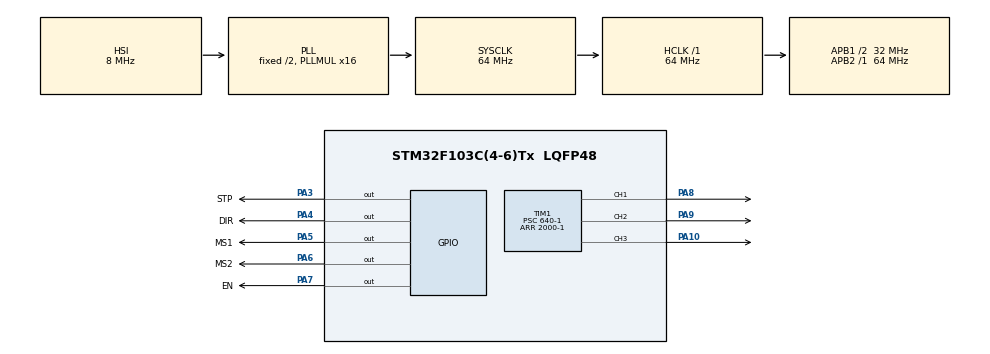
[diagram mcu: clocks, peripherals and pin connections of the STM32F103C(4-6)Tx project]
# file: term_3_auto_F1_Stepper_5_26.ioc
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Mcu.Family=STM32F1
Mcu.Name=STM32F103C(4-6)Tx
Mcu.Package=LQFP48
NVIC.PriorityGroup=NVIC_PRIORITYGROUP_4
PA10.Signal=S_TIM1_CH3
PA13.Mode=Serial_Wire
PA13.Signal=SYS_JTMS-SWDIO
PA14.Mode=Serial_Wire
PA14.Signal=SYS_JTCK-SWCLK
PA3.GPIO_Label=STP
PA3.Signal=GPIO_Output
PA4.GPIO_Label=DIR
PA4.Signal=GPIO_Output
PA5.GPIO_Label=MS1
PA5.Signal=GPIO_Output
PA6.GPIO_Label=MS2
PA6.Signal=GPIO_Output
PA7.GPIO_Label=EN
PA7.Signal=GPIO_Output
PA8.Signal=S_TIM1_CH1
PA9.Signal=S_TIM1_CH2
ProjectManager.HeapSize=0x200
ProjectManager.StackSize=0x400
ProjectManager.TargetToolchain=MDK-ARM V5.32
RCC.AHBFreq_Value=64000000
RCC.APB1CLKDivider=RCC_HCLK_DIV2
RCC.APB1Freq_Value=32000000
RCC.APB1TimFreq_Value=64000000
RCC.APB2Freq_Value=64000000
RCC.APB2TimFreq_Value=64000000
RCC.HCLKFreq_Value=64000000
RCC.PLLMUL=RCC_PLL_MUL16
RCC.SYSCLKFreq_VALUE=64000000
RCC.SYSCLKSource=RCC_SYSCLKSOURCE_PLLCLK
RCC.USBFreq_Value=64000000
SH.S_TIM1_CH1.0=TIM1_CH1,PWM Generation1 CH1
SH.S_TIM1_CH2.0=TIM1_CH2,PWM Generation2 CH2
SH.S_TIM1_CH3.0=TIM1_CH3,PWM Generation3 CH3
TIM1.Channel-PWM\ Generation1\ CH1=TIM_CHANNEL_1
TIM1.Channel-PWM\ Generation2\ CH2=TIM_CHANNEL_2
TIM1.Channel-PWM\ Generation3\ CH3=TIM_CHANNEL_3
TIM1.Period=2000-1
TIM1.Prescaler=640-1
TIM2.Prescaler=64-1
VP_TIM1_VS_ClockSourceINT.Mode=Internal
VP_TIM2_VS_ClockSourceINT.Mode=Internal
board=custom

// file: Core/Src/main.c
/* USER CODE BEGIN Header */
/**
  ******************************************************************************
  * @file           : main.c
  * @brief          : Main program body
  ******************************************************************************
  * @attention
  *
  * Copyright (c) 2024 STMicroelectronics.
  * All rights reserved.
  *
  * This software is licensed under terms that can be found in the LICENSE file
  * in the root directory of this software component.
  * If no LICENSE file comes with this software, it is provided AS-IS.
  *
  ******************************************************************************
  */
/* USER CODE END Header */
#include "main.h"
#include "tim.h"
#include "gpio.h"

/* USER CODE BEGIN PV */
uint32_t count;

/* USER CODE END PV */

void SystemClock_Config(void);
/* USER CODE BEGIN PFP */

void Stepper_Forward(uint16_t n);
void Stepper_Backward(uint16_t n);
void Servo_Forward(uint16_t C,uint16_t T);
void Servo_Backward(uint16_t C,uint16_t T);
void Robot_Init(void);

/* USER CODE END PFP */

int main(void)
{

  /* MCU Configuration--------------------------------------------------------*/

  /* Reset of all peripherals, Initializes the Flash interface and the Systick. */
  HAL_Init();

  /* Configure the system clock */
  SystemClock_Config();

  /* Initialize all configured peripherals */
  MX_GPIO_Init();
  MX_TIM1_Init();
  MX_TIM2_Init();
  /* USER CODE BEGIN 2 */
  HAL_TIM_PWM_Start(&htim1, TIM_CHANNEL_1);
  HAL_TIM_PWM_Start(&htim1, TIM_CHANNEL_2);
  HAL_TIM_PWM_Start(&htim1, TIM_CHANNEL_3);

  HAL_GPIO_WritePin(GPIOA, EN_Pin, GPIO_PIN_RESET);

  Robot_Init();

  /* USER CODE END 2 */

  /* Infinite loop */
  while (1)
  {

  }
}

void SystemClock_Config(void)
{
  RCC_OscInitTypeDef RCC_OscInitStruct = {0};
  RCC_ClkInitTypeDef RCC_ClkInitStruct = {0};

  /** Initializes the RCC Oscillators according to the specified parameters
  * in the RCC_OscInitTypeDef structure.
  */
  RCC_OscInitStruct.OscillatorType = RCC_OSCILLATORTYPE_HSI;
  RCC_OscInitStruct.HSIState = RCC_HSI_ON;
  RCC_OscInitStruct.HSICalibrationValue = RCC_HSICALIBRATION_DEFAULT;
  RCC_OscInitStruct.PLL.PLLState = RCC_PLL_ON;
  RCC_OscInitStruct.PLL.PLLSource = RCC_PLLSOURCE_HSI_DIV2;
  RCC_OscInitStruct.PLL.PLLMUL = RCC_PLL_MUL16;
  if (HAL_RCC_OscConfig(&RCC_OscInitStruct) != HAL_OK)
  {
    Error_Handler();
  }

  /** Initializes the CPU, AHB and APB buses clocks
  */
  RCC_ClkInitStruct.ClockType = RCC_CLOCKTYPE_HCLK|RCC_CLOCKTYPE_SYSCLK
                              |RCC_CLOCKTYPE_PCLK1|RCC_CLOCKTYPE_PCLK2;
  RCC_ClkInitStruct.SYSCLKSource = RCC_SYSCLKSOURCE_PLLCLK;
  RCC_ClkInitStruct.AHBCLKDivider = RCC_SYSCLK_DIV1;
  RCC_ClkInitStruct.APB1CLKDivider = RCC_HCLK_DIV2;
  RCC_ClkInitStruct.APB2CLKDivider = RCC_HCLK_DIV1;

  if (HAL_RCC_ClockConfig(&RCC_ClkInitStruct, FLASH_LATENCY_2) != HAL_OK)
  {
    Error_Handler();
  }
}

/* USER CODE BEGIN 4 */

/**
  * @brief  This function is for stepper forward
  * @param  $ n $ the number of loop #uint16_t
  * @retval None
  */

void Stepper_Forward(uint16_t n)
{
	   HAL_GPIO_WritePin(GPIOA, DIR_Pin,GPIO_PIN_RESET);
	   HAL_Delay(1);

		for(count = 0; count < n; count++){
			HAL_GPIO_WritePin(GPIOA, STP_Pin, GPIO_PIN_SET);
			HAL_Delay(1);
			HAL_GPIO_WritePin(GPIOA, STP_Pin, GPIO_PIN_RESET);
			HAL_Delay(1);
		}
}

/**
  * @brief  This function is for stepper backword
  * @param  $ n $ is the number of loop #uint16_t
  * @retval None
  */

void Stepper_Backward(uint16_t n)
{
	   HAL_GPIO_WritePin(GPIOA, DIR_Pin,GPIO_PIN_SET);
	   HAL_Delay(1);

		for(count = 0; count < n; count++){
			HAL_GPIO_WritePin(GPIOA, STP_Pin, GPIO_PIN_SET);
			HAL_Delay(1);
			HAL_GPIO_WritePin(GPIOA, STP_Pin, GPIO_PIN_RESET);
			HAL_Delay(1);
		}
}

/**
  * @brief  This function is for servo forword
  * @param  $ C $ is the channel of tim1 && $ T $ is the time for delay #uint16_t
  * @retval None
  */

void Servo_Forward(uint16_t C,uint16_t T)
{
	if(C == 1)
	{
		__HAL_TIM_SET_COMPARE(&htim1,TIM_CHANNEL_1, 130);
		HAL_Delay(T);
		__HAL_TIM_SET_COMPARE(&htim1,TIM_CHANNEL_1, 0);

	}else if(C == 2)
	{
		__HAL_TIM_SET_COMPARE(&htim1,TIM_CHANNEL_2, 130);
		HAL_Delay(T);
		__HAL_TIM_SET_COMPARE(&htim1,TIM_CHANNEL_2, 0);
	}else if(C == 3)
	{
		__HAL_TIM_SET_COMPARE(&htim1,TIM_CHANNEL_3, 130);
		HAL_Delay(T);
		__HAL_TIM_SET_COMPARE(&htim1,TIM_CHANNEL_3, 0);
	}

}

/**
  * @brief  This function is for servo backward
  * @param  $ C $ is the channel of tim1 && $ T $ is the time for delay #uint16_t
  * @retval None
  */

void Servo_Backward(uint16_t C,uint16_t T)
{
	if(C == 1)
	{
		__HAL_TIM_SET_COMPARE(&htim1,TIM_CHANNEL_1, 170);
		HAL_Delay(T);
		__HAL_TIM_SET_COMPARE(&htim1,TIM_CHANNEL_1, 0);
	}else if(C == 2)
	{
		__HAL_TIM_SET_COMPARE(&htim1,TIM_CHANNEL_2, 170);
		HAL_Delay(T);
		__HAL_TIM_SET_COMPARE(&htim1,TIM_CHANNEL_2, 0);
	}
	else if(C == 3)
	{
		__HAL_TIM_SET_COMPARE(&htim1,TIM_CHANNEL_3, 170);
		HAL_Delay(T);
		__HAL_TIM_SET_COMPARE(&htim1,TIM_CHANNEL_3, 0);
	}

}

/**
  * @brief  This function is for robot init its state
  * @param  None
  * @retval None
  */

void Robot_Init(void)
{
	for(int i = 0; i < 20; i++)
	{
		Servo_Forward(1, 10);
		Servo_Forward(2, 10);

	}

}

/* USER CODE END 4 */

void Error_Handler(void)
{
  __disable_irq();
  while (1)
  {
  }
}
